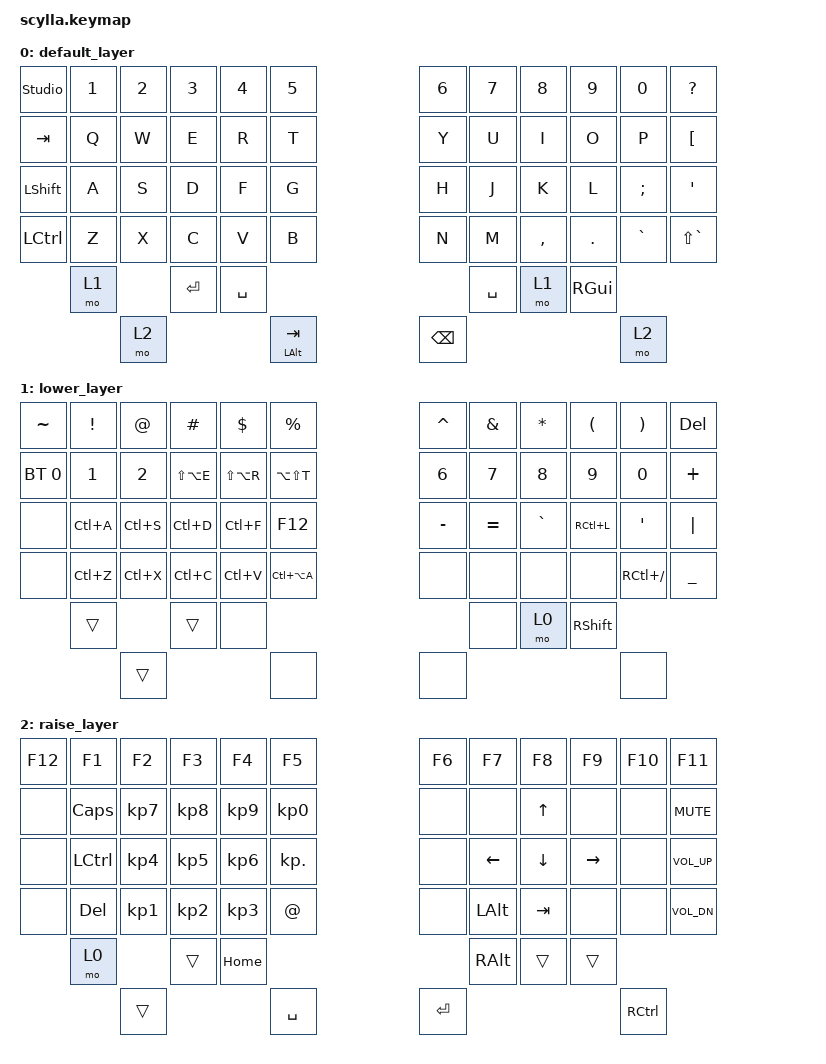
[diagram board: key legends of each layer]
#include <behaviors.dtsi>
#include <dt-bindings/zmk/bt.h>
#include <dt-bindings/zmk/keys.h>

#define DEFAULT 0
#define LWR 1
#define RSE 2
#define ADJ 3

/ {
    combos {
        compatible = "zmk,combos";

        combo1 {
            bindings = <&kp LA(N8)>;
            key-positions = <15 16>;
        };

        combo2 {
            bindings = <&kp LA(N9)>;
            key-positions = <19 20>;
        };

        combo3 {
            bindings = <&kp LS(N8)>;
            key-positions = <27 28>;
        };

        combo4 {
            bindings = <&kp LS(N9)>;
            key-positions = <31 32>;
        };

        combo5 {
            bindings = <&kp LA(LS(N8))>;
            key-positions = <39 40>;
        };

        combo6 {
            bindings = <&kp LA(LS(N9))>;
            key-positions = <43 44>;
        };

        combo7 {
            bindings = <&kp LS(N7)>;
            key-positions = <17 18>;
        };

        combo8 {
            bindings = <&kp LA(I)>;
            key-positions = <29 30>;
        };
    };

    behaviors {
        ltq: ltq {
            compatible = "zmk,behavior-hold-tap";

            bindings = <&mo>, <&kp>;

            #binding-cells = <2>;
            tapping-term-ms = <200>;
            quick-tap-ms = <180>;
            require-prior-idle-ms = <180>;
        };
    };

    keymap {
        compatible = "zmk,keymap";

        default_layer {
            bindings = <
&studio_unlock  &kp N1  &kp N2  &kp N3      &kp N4            &kp N5    &kp N6  &kp N7         &kp N8         &kp N9   &kp N0         &kp QUESTION
&kp TAB         &kp Q   &kp W   &kp E       &kp R             &kp T     &kp Y   &kp U          &kp I          &kp O    &kp P          &kp LEFT_BRACKET
&kp LSHIFT      &kp A   &kp S   &kp D       &kp F             &kp G     &kp H   &kp J          &kp K          &kp L    &kp SEMICOLON  &kp SINGLE_QUOTE
&kp LCTRL       &kp Z   &kp X   &kp C       &kp V             &kp B     &kp N   &kp M          &kp COMMA      &kp DOT  &kp GRAVE      &kp LS(GRAVE)
                                &kp RETURN  &kp SPACE         &mo 1     &mo 1   &kp SPACE      &kp RIGHT_GUI
                                            &mt LEFT_ALT TAB  &mo 2     &mo 2   &kp BACKSPACE
            >;
        };

        lower_layer {
            bindings = <
&kp TILDE       &kp EXCL      &kp AT        &kp HASH       &kp DLLR       &kp PRCNT        &kp CARET     &kp AMPS      &kp ASTRK        &kp LPAR      &kp RPAR       &kp DEL
&bt BT_SEL 0    &kp NUMBER_1  &kp NUMBER_2  &kp LS(LA(E))  &kp LS(LA(R))  &kp LA(LS(T))    &kp NUMBER_6  &kp NUMBER_7  &kp NUMBER_8     &kp NUMBER_9  &kp NUMBER_0   &kp PLUS
&none           &kp LC(A)     &kp LC(S)     &kp LC(D)      &kp LC(F)      &kp F12          &kp MINUS     &kp EQUAL     &kp GRAVE        &kp RC(L)     &kp SQT        &kp PIPE
&none           &kp LC(Z)     &kp LC(X)     &kp LC(C)      &kp LC(V)      &kp LC(LA(A))    &none         &none         &none            &none         &kp RC(SLASH)  &kp UNDER
                                            &trans         &none          &trans           &mo 0         &none         &kp RIGHT_SHIFT
                                                           &none          &trans           &none         &none
            >;
        };

        raise_layer {
            bindings = <
&kp F12  &kp F1     &kp F2           &kp F3           &kp F4           &kp F5             &kp F6     &kp F7        &kp F8    &kp F9     &kp F10  &kp F11
&none    &kp CAPS   &kp KP_NUMBER_7  &kp KP_NUMBER_8  &kp KP_NUMBER_9  &kp KP_NUMBER_0    &none      &none         &kp UP    &none      &none    &kp C_MUTE
&none    &kp LCTRL  &kp KP_NUMBER_4  &kp KP_NUMBER_5  &kp KP_NUMBER_6  &kp KP_DOT         &none      &kp LEFT      &kp DOWN  &kp RIGHT  &none    &kp C_VOL_UP
&none    &kp DEL    &kp KP_NUMBER_1  &kp KP_NUMBER_2  &kp KP_NUMBER_3  &kp AT_SIGN        &none      &kp LEFT_ALT  &kp TAB   &none      &none    &kp C_VOL_DN
                                     &trans           &kp HOME         &mo 0              &trans     &kp RALT      &trans
                                                      &kp SPACE        &trans             &kp RCTRL  &kp RET
            >;
        };
    };
};
